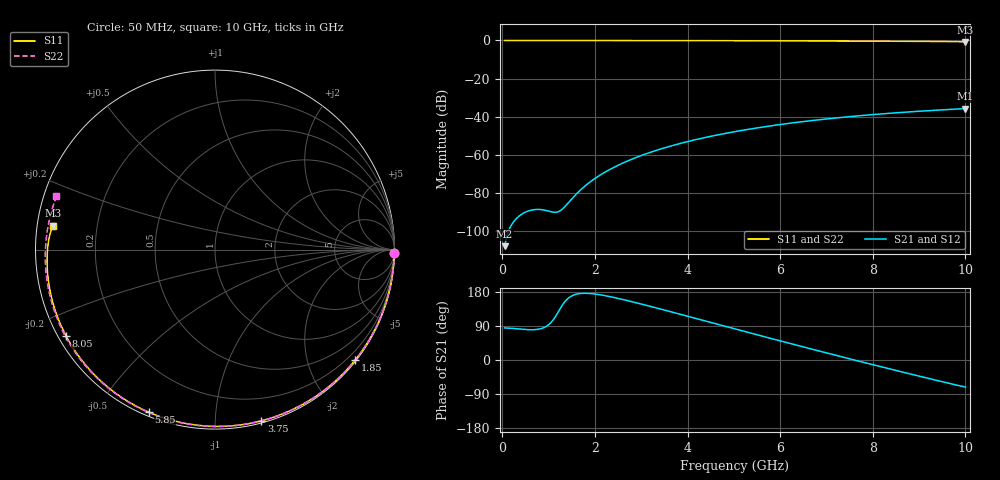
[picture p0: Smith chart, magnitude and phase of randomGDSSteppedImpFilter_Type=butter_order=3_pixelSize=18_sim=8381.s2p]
! freq	dB(S11)	phase(S11)	dB(S12)	phase(S12)
!  dB(S21)	phase(S21)	dB(S22)	phase(S22)
!S-par simulation data
#  GHz  S  DB  R 50
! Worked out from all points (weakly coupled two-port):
!   200 points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, 50 MHz to 10 GHz, reference 50 ohm
!   highest |S21| = -35.71 dB at 10 GHz (marker M1); lowest = -107.8 dB at 50 MHz (marker M2)
!   lowest |S11| = -0.8 dB at 10 GHz (marker M3), VSWR 21.97, Z = 2.29 + j3.65 ohm
!   |S11| at or under -10 dB: nowhere
!   |S22| runs from -0.6 to 0.0 dB; largest |S21 - S12| = 0
!   S11 on the Smith chart (normalised r, x): 50 MHz: open; 1.85 GHz: 0.03, -2.89; 3.75 GHz: 0.02, -1.31; 5.85 GHz: 0.02, -0.67; 8.05 GHz: 0.02, -0.27; 10 GHz: 0.05, +0.07
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0.05  -0.01 -1.1  -107.84 84.7  -107.84 84.7  -0.01 -1.1
0.8  -0.02 -16.7  -88.60 81.7  -88.60 81.7  -0.02 -18.1
1.6  -0.04 -33.1  -80.45 173.7  -80.45 173.7  -0.05 -35.9
1.65  -0.04 -34.1  -79.25 175.0  -79.25 175.0  -0.05 -37.0
1.75  -0.05 -36.1  -77.03 176.0  -77.03 176.0  -0.05 -39.1
1.85  -0.05 -38.1  -75.03 175.9  -75.03 175.9  -0.05 -41.3
2.15  -0.06 -44.1  -70.02 171.3  -70.02 171.3  -0.06 -47.8
2.5  -0.07 -51.0  -65.44 162.6  -65.44 162.6  -0.07 -55.2
2.9  -0.08 -58.8  -61.25 150.8  -61.25 150.8  -0.08 -63.5
3.4  -0.09 -68.3  -57.05 135.0  -57.05 135.0  -0.10 -73.7
3.75  -0.10 -74.8  -54.59 123.7  -54.59 123.7  -0.11 -80.7
4.4  -0.12 -86.7  -50.78 102.5  -50.78 102.5  -0.13 -93.4
5.05  -0.15 -98.3  -47.68 81.2  -47.68 81.2  -0.16 -105.7
5.85  -0.19 -112.2  -44.59 55.3  -44.59 55.3  -0.20 -120.5
6.7  -0.25 -126.7  -41.95 28.2  -41.95 28.2  -0.26 -135.9
7.4  -0.30 -138.7  -40.17 6.3  -40.17 6.3  -0.32 -148.5
8.05  -0.36 -149.9  -38.77 -13.8  -38.77 -13.8  -0.38 -160.4
8.35  -0.40 -155.1  -38.20 -23.0  -38.20 -23.0  -0.41 -166.0
8.85  -0.46 -164.2  -37.34 -38.1  -37.34 -38.1  -0.47 -175.5
9.3  -0.53 -172.7  -36.67 -51.5  -36.67 -51.5  -0.52 175.7
9.7  -0.61 179.1  -36.12 -63.1  -36.12 -63.1  -0.57 167.6
10  -0.79 171.6  -35.71 -71.4  -35.71 -71.4  -0.61 161.4
